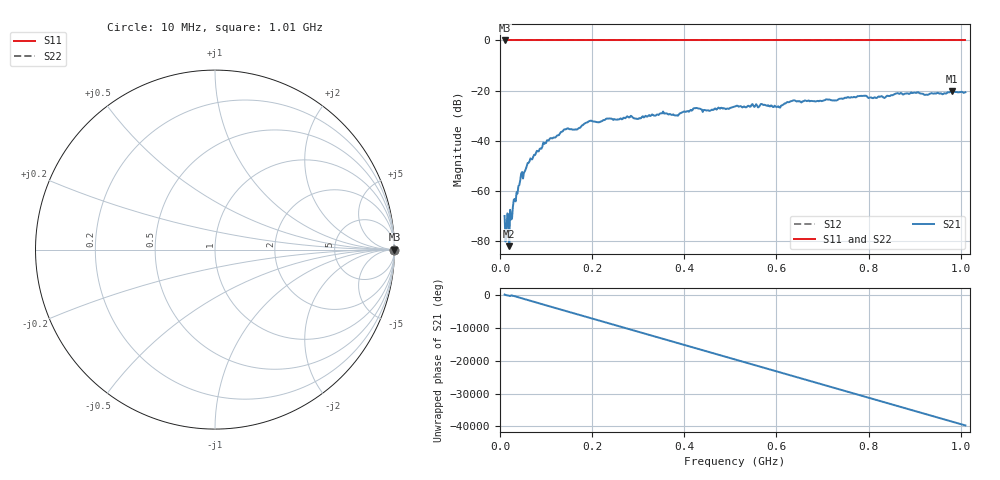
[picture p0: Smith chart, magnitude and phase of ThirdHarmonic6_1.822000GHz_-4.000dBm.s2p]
! 8/16/2025 10:04:30 PM
! C:\ANRITSUVNA\TEMP\TEMP.S2P
! CHANNEL.1
! TR.MEASUREMENT
! RAW.DATA
! RF.CORRECTION.OFF
! AVERAGING.OFF
! IF.BANDWIDTH: 5KHZ
! SWEEPTYPE:  FREQ.SWEEP(Linear)
! Reference Plane Port Info
! PORT:  PORT1  PORT2
! DISTANCE:  0  m  0  m
! TIME:  0  s  0  s
! PHASE.OFFSET:  0  deg.  0  deg.
! LOSS:  0  dB  0  dB
! REF.LOSS:  0  dB  0  dB
! REF.FREQ:  0  Hz  0  Hz
! Power Info
! POWER:  -20  dBm  -20  dBm
! EFF.POWER:  -20  dBm  -20  dBm
! SOURCE.ATTEN:  0  dB  0  dB
! TEST.ATTEN:  0  dB  0  dB
# GHZ S RI R 50.0
! FREQ.GHZ  S11RE  S11IM  S21RE  S21IM  S12RE  S12IM  S22RE  S22IM
!; PortSelection: Port_12
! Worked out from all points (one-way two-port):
!   501 points, 10 MHz to 1.01 GHz, reference 50 ohm
!   highest |S21| = -20.30 dB at 980 MHz (marker M1); lowest = -82.0 dB at 20 MHz (marker M2)
!   lowest |S11| = 0.0 dB at 10 MHz (marker M3)
!   |S11| at or under -10 dB: nowhere
!   |S22| runs from 0.0 to 0.0 dB; largest |S21 - S12| = 1.1
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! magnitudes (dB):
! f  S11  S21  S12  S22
! 10 MHz  0.0  -70.0  0.0  0.0
! 14 MHz  0.0  -75.8  0.0  0.0
! 16 MHz  0.0  -68.9  0.0  0.0
! 20 MHz  0.0  -82.0  0.0  0.0
! 24 MHz  0.0  -71.4  0.0  0.0
! 26 MHz  0.0  -71.1  0.0  0.0
! 44 MHz  0.0  -55.6  0.0  0.0
! 64 MHz  0.0  -48.2  0.0  0.0
! 106 MHz  0.0  -39.8  0.0  0.0
! 142 MHz  0.0  -35.5  0.0  0.0
! 178 MHz  0.0  -33.9  0.0  0.0
! 196 MHz  0.0  -32.0  0.0  0.0
! 344 MHz  0.0  -29.7  0.0  0.0
! 382 MHz  0.0  -29.9  0.0  0.0
! 424 MHz  0.0  -27.0  0.0  0.0
! 510 MHz  0.0  -26.3  0.0  0.0
! 604 MHz  0.0  -26.2  0.0  0.0
! 636 MHz  0.0  -23.9  0.0  0.0
! 678 MHz  0.0  -24.2  0.0  0.0
! 844 MHz  0.0  -22.2  0.0  0.0
! 980 MHz  0.0  -20.3  0.0  0.0
! 1.01 GHz  0.0  -20.7  0.0  0.0
